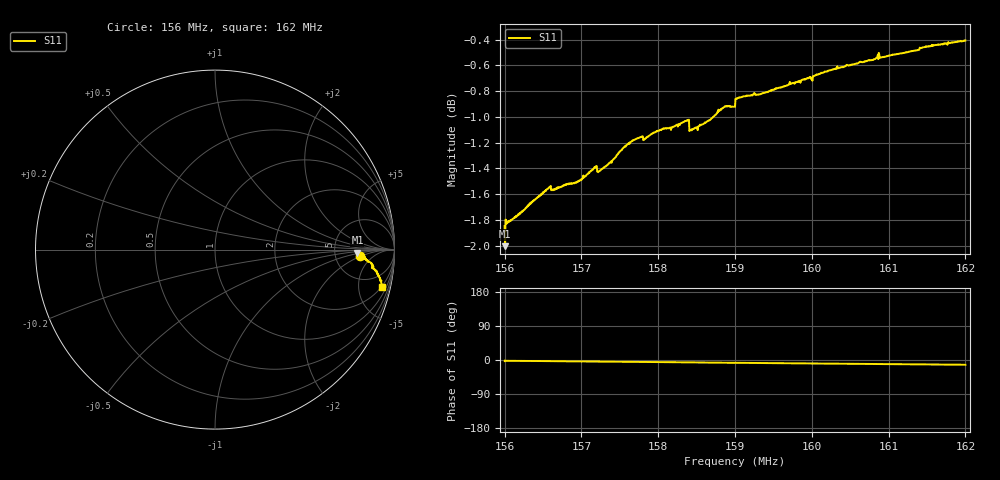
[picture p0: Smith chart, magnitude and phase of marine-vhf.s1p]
! Calibrated averaged scanner-service zoom
# Hz S RI R 50
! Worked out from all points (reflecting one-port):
!   1001 points, 156 MHz to 162 MHz, reference 50 ohm
!   lowest |S11| = -2.0 dB at 156.01 MHz (marker M1), VSWR 8.71, Z = 431 - j40.6 ohm
!   phase of S11 starts at -2 deg and turns -10 deg over the sweep
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1.56e8  0.8076 -0.0343
1.56006e8  0.7938 -0.0174
1.56036e8  0.8106 -0.0309
1.5657e8  0.835 -0.0424
1.56636e8  0.834 -0.0459
1.5675e8  0.8362 -0.0488
1.5696e8  0.8397 -0.0548
1.5717e8  0.85 -0.0599
1.57242e8  0.8471 -0.0629
1.575e8  0.8612 -0.0687
1.57698e8  0.8702 -0.0747
1.57836e8  0.8707 -0.0791
1.57992e8  0.8761 -0.0835
1.5825e8  0.8803 -0.0919
1.5837e8  0.8831 -0.0954
1.58436e8  0.8751 -0.0981
1.58484e8  0.8771 -0.1003
1.58682e8  0.8828 -0.1066
1.58856e8  0.8919 -0.1134
1.5897e8  0.8919 -0.1162
1.59e8  0.8917 -0.1169
1.59036e8  0.8988 -0.1175
1.59318e8  0.9008 -0.1256
1.5975e8  0.9081 -0.139
1.605e8  0.9191 -0.163
1.6086e8  0.9261 -0.1728
1.6125e8  0.9262 -0.185
1.62e8  0.9316 -0.2069
